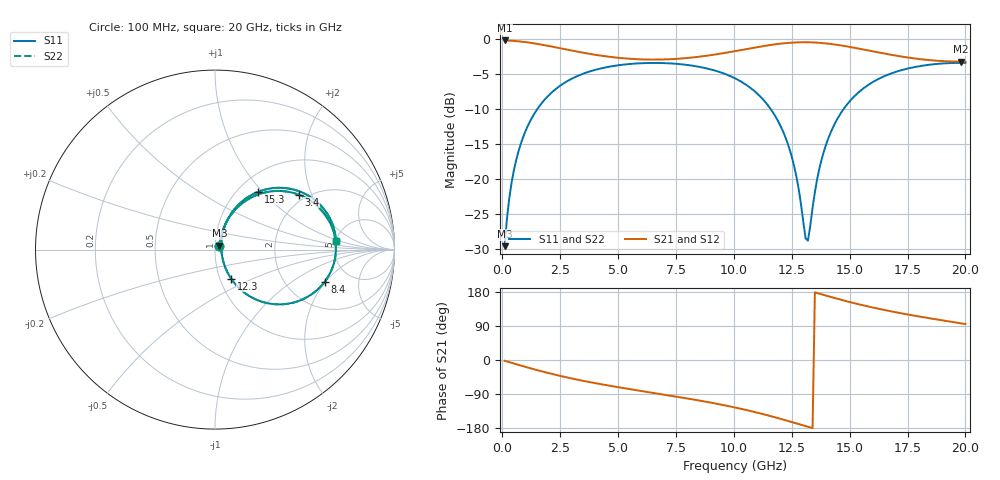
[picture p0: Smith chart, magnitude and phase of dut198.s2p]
! Touchstone file exported from HFSS 2026.1.0
!  File:  C:/ffzhzh/LocalFiles/Ansys_Project_Files/temp_train_TSV_RDL_198_1783059784_17544.aedt
!  Generated:  02:34:39 PM Jul  3, 2026
!  Design:  TSV_RDL
!  Project:  temp_train_TSV_RDL_198_1783059784_17544
! Variables:
!  h_bsmrdl = 5.86um
!  h_ox = 20um
!  h_rdl = 5um
!  h_sub = 65.85um
!  h_tmrdl = 5.46um
!  h_tsv = 65.85um
!  h_via = 3um
!  l_bsmrdl = 133.23um
!  l_sub = 4650.55um
!  l_tmrdl = 935.58um
!  m_sub = 200um
!  pitch = 55.11um
!  r_tsv = 6.52um
!  s_tmrdl = 10um
!  w_bsmrdl = 24.94um
!  w_sub = 500um
!  w_tmrdl = 11.24um
!  x_tsv_center1 = 941.2um
!  x_tsv_center2 = 1099.37um
!  x_tsv_center3 = 2046.19um
!  x_tsv_center4 = 2204.36um
!  x_tsv_center5 = 3151.18um
!  x_tsv_center6 = 3309.35um
# GHz S MA R 50.000000
! Terminal data exported
! Port[1] = TM_RDL1_1_T1
! Port[2] = TM_RDL5_1_T1
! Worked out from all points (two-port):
!   200 points, 100 MHz to 20 GHz, reference 50 ohm
!   highest |S21| = -0.21 dB at 100 MHz (marker M1); lowest = -3.2 dB at 19.8 GHz (marker M2)
!   |S21| within 3 dB of the highest: start of sweep to 19.39 GHz
!   lowest |S11| = -29.6 dB at 100 MHz (marker M3), VSWR 1.07, Z = 52.5 + j2.34 ohm
!   |S11| at or under -10 dB: start of sweep to 1.516 GHz; 11.59 GHz to 14.74 GHz (3.155 GHz wide, 24 % of centre)
!   |S22| runs from -29.6 to -3.4 dB; largest |S21 - S12| = 2.5e-14
!   S11 on the Smith chart (normalised r, x): 100 MHz: 1.05, +0.05; 3.4 GHz: 1.82, +1.61; 8.4 GHz: 3.25, -1.96; 12.3 GHz: 1.13, -0.38; 15.3 GHz: 1.23, +0.95; 20 GHz: 5.00, +0.89
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0.1  0.03314 42.3  0.976 -1.9  0.976 -1.9  0.03314 42.3
! Gamma 0 0 0 0
! Port Impedance 50 0 50 0
0.3  0.07262 64.7  0.9732 -5.6  0.9732 -5.6  0.07262 64.7
0.5  0.1153 68.2  0.9686 -9.3  0.9686 -9.3  0.1153 68.2
1.1  0.239 63.8  0.9451 -19.9  0.9451 -19.9  0.239 63.8
2  0.3953 51.4  0.8914 -34.6  0.8914 -34.6  0.3953 51.4
3.4  0.5573 33.4  0.8026 -53.8  0.8026 -53.8  0.5573 33.4
3.5  0.5655 32.2  0.797 -55.1  0.797 -55.1  0.5655 32.2
6.8  0.6737 -0.9  0.713 -89.6  0.713 -89.6  0.6737 -0.9
8.4  0.637 -16.3  0.7434 -105.8  0.7434 -105.8  0.637 -16.3
10.1  0.5186 -35.1  0.8216 -126.0  0.8216 -126.0  0.5187 -35.1
11.4  0.3477 -51.5  0.8966 -145.0  0.8966 -145.0  0.3477 -51.6
12.3  0.1843 -61.0  0.9359 -160.1  0.9359 -160.1  0.1842 -61.1
12.7  0.1045 -59.2  0.9451 -167.2  0.9451 -167.2  0.1044 -59.3
13.1  0.03761 -16.1  0.9478 -174.4  0.9478 -174.4  0.03734 -16.3
13.2  0.03629 15.9  0.9474 -176.2  0.9474 -176.2  0.03599 15.9
13.4  0.06227 54.3  0.9452 -179.8  0.9452 -179.8  0.06206 54.6
13.7  0.12 66.6  0.9389 174.9  0.9389 174.9  0.1198 66.7
14.1  0.1991 66.7  0.9251 167.9  0.9251 167.9  0.199 66.7
15.3  0.4035 53.1  0.8596 148.5  0.8596 148.5  0.4034 53.1
16.7  0.5596 36.2  0.7758 129.5  0.7758 129.5  0.5596 36.3
19.8  0.6757 5.9  0.6892 96.8  0.6892 96.8  0.6756 5.9
20  0.6755 4.1  0.6894 94.9  0.6894 94.9  0.6755 4.1
